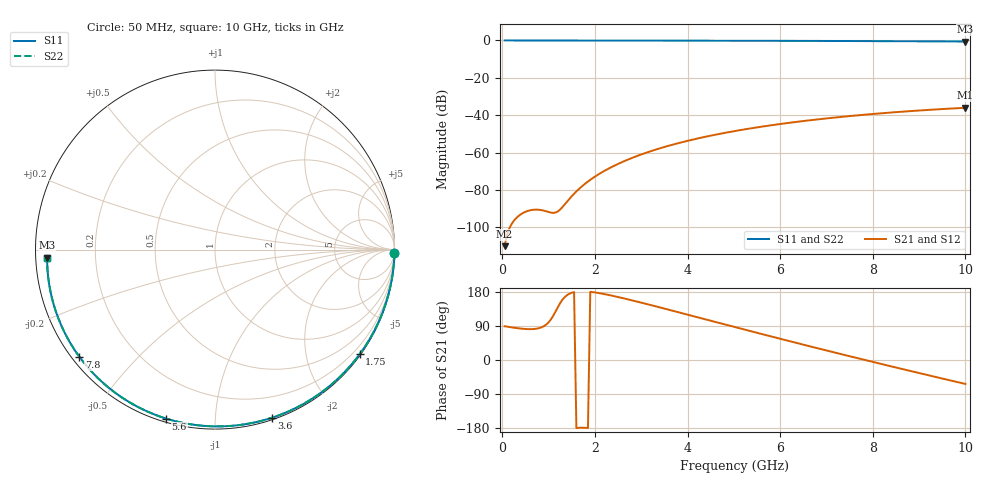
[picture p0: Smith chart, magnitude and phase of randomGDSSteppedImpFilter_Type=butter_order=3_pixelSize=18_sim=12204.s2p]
! freq	dB(S11)	phase(S11)	dB(S12)	phase(S12)
!  dB(S21)	phase(S21)	dB(S22)	phase(S22)
!S-par simulation data
#  GHz  S  DB  R 50
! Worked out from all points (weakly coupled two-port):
!   200 points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, 50 MHz to 10 GHz, reference 50 ohm
!   highest |S21| = -36.05 dB at 10 GHz (marker M1); lowest = -110.1 dB at 50 MHz (marker M2)
!   lowest |S11| = -0.6 dB at 10 GHz (marker M3), VSWR 30.49, Z = 1.64 - j1.18 ohm
!   |S11| at or under -10 dB: nowhere
!   |S22| runs from -0.6 to 0.0 dB; largest |S21 - S12| = 0
!   S11 on the Smith chart (normalised r, x): 50 MHz: open; 1.75 GHz: 0.03, -3.09; 3.6 GHz: 0.02, -1.39; 5.6 GHz: 0.02, -0.75; 7.8 GHz: 0.02, -0.35; 10 GHz: 0.03, -0.02
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0.05  -0.00 -1.0  -110.15 89.0  -110.15 89.0  -0.00 -1.0
0.4  -0.01 -8.3  -93.08 82.9  -93.08 82.9  -0.01 -8.3
0.8  -0.02 -16.6  -90.67 84.3  -90.67 84.3  -0.02 -16.6
1.6  -0.04 -32.8  -80.82 -179.6  -80.82 -179.6  -0.04 -32.8
1.65  -0.04 -33.8  -79.64 -178.9  -79.64 -178.9  -0.04 -33.8
1.75  -0.05 -35.8  -77.47 -178.7  -77.47 -178.7  -0.05 -35.8
1.9  -0.05 -38.8  -74.61 180.0  -74.61 180.0  -0.05 -38.8
2.05  -0.05 -41.8  -72.11 177.4  -72.11 177.4  -0.05 -41.8
2.25  -0.06 -45.7  -69.21 172.8  -69.21 172.8  -0.06 -45.7
2.45  -0.06 -49.6  -66.68 167.6  -66.68 167.6  -0.06 -49.6
2.9  -0.08 -58.2  -61.95 154.5  -61.95 154.5  -0.08 -58.2
3.4  -0.09 -67.6  -57.77 138.9  -57.77 138.9  -0.09 -67.6
3.6  -0.10 -71.3  -56.33 132.5  -56.33 132.5  -0.10 -71.3
4.3  -0.12 -83.9  -52.03 110.1  -52.03 110.1  -0.12 -83.9
5.05  -0.15 -96.9  -48.38 86.1  -48.38 86.1  -0.15 -96.9
5.6  -0.17 -106.2  -46.16 68.6  -46.16 68.6  -0.17 -106.2
6.15  -0.21 -115.3  -44.24 51.4  -44.24 51.4  -0.21 -115.3
6.7  -0.24 -124.2  -42.56 34.3  -42.56 34.3  -0.24 -124.2
7.8  -0.33 -141.7  -39.80 1.0  -39.80 1.0  -0.33 -141.7
8.35  -0.38 -150.4  -38.67 -15.4  -38.67 -15.4  -0.38 -150.4
9.2  -0.47 -164.1  -37.18 -40.2  -37.18 -40.2  -0.47 -164.1
10  -0.57 -177.3  -36.05 -63.2  -36.05 -63.2  -0.57 -177.3
